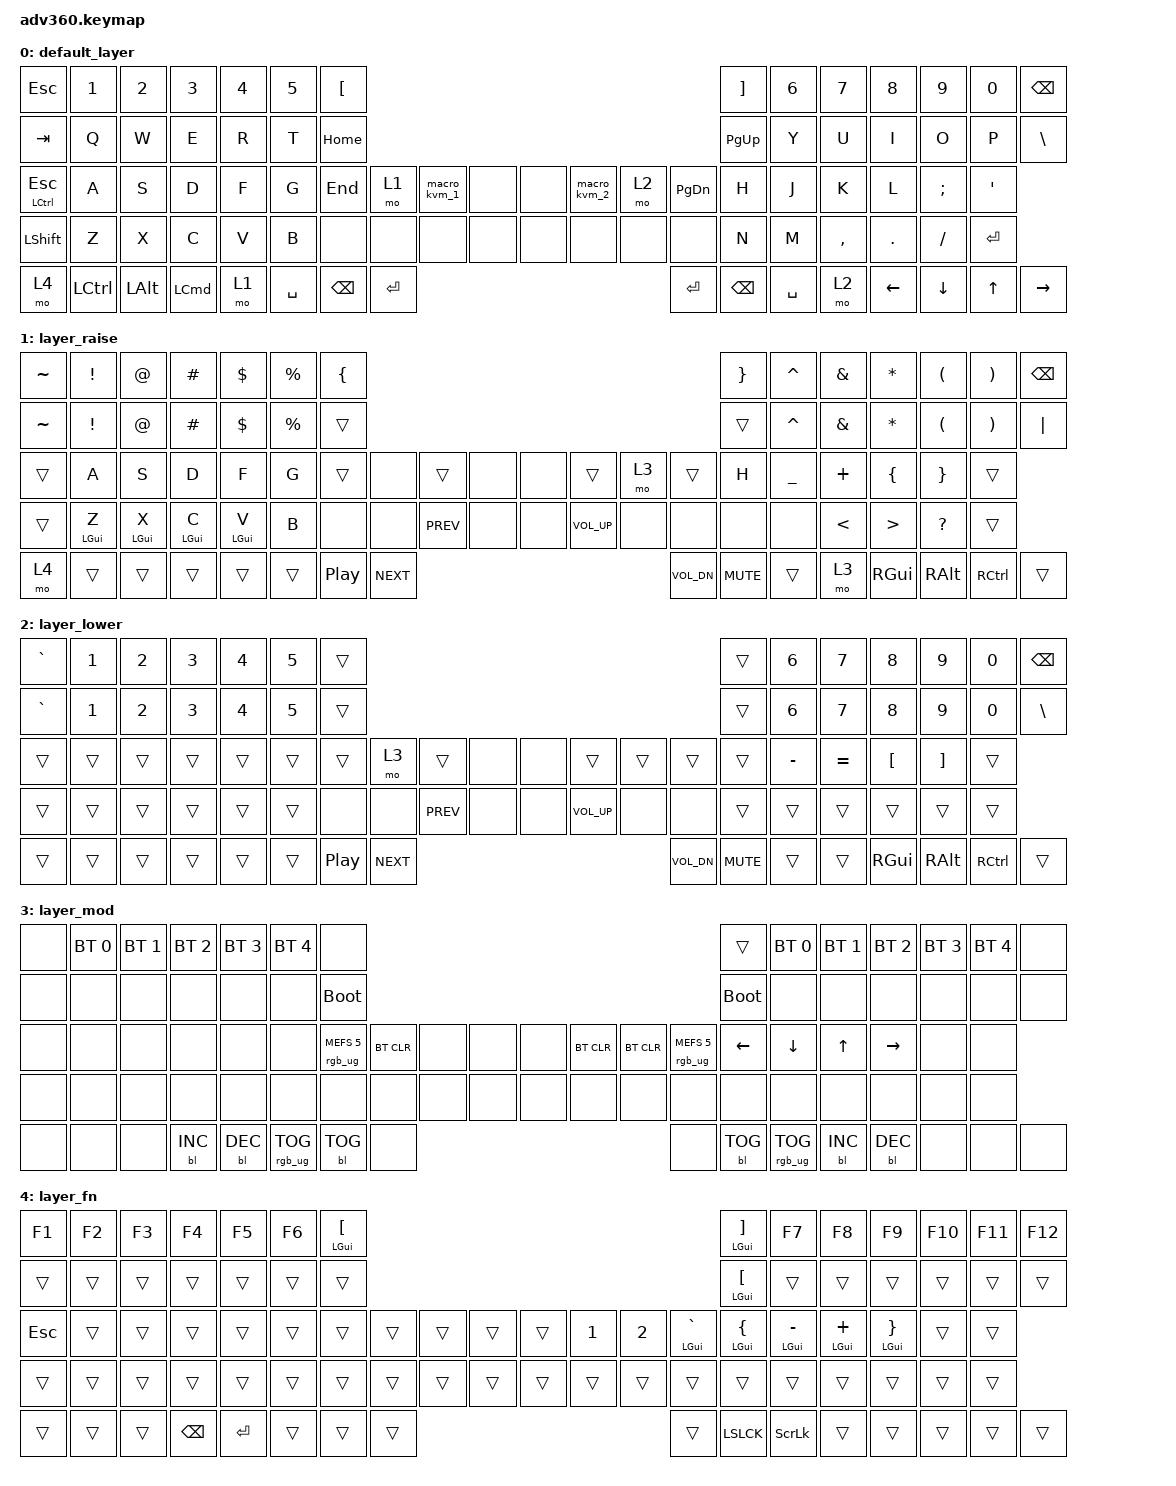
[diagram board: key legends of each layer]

/*
 * Copyright (c) 2020 The ZMK Contributors
 *
 * SPDX-License-Identifier: MIT
 */


/* THIS FILE WAS GENERATED!
 *
 * This file was generated automatically. You may or may not want to
 * edit it directly.
 */

#include <behaviors.dtsi>
#include <dt-bindings/zmk/keys.h>
#include <dt-bindings/zmk/bt.h>
#include <dt-bindings/zmk/rgb.h>
#include <dt-bindings/zmk/backlight.h>

/ {
  behaviors {
    #include "macros.dtsi"

    hm: homerow_mods {
        compatible = "zmk,behavior-hold-tap";
        label = "HOMEROW_MODS";
        #binding-cells = <2>;
        tapping-term-ms = <200>;
        quick_tap_ms = <175>;
        flavor = "tap-preferred";
        bindings = <&kp>, <&kp>;
    };
  };

    keymap {
        compatible = "zmk,keymap";


        default_layer {
            bindings = <
              &kp ESC     &kp N1        &kp N2            &kp N3  &kp N4  &kp N5            &kp LEFT_BRACKET                                                                            &kp RIGHT_BRACKET  &kp N6  &kp N7     &kp N8    &kp N9    &kp N0  &kp BACKSPACE
              &kp TAB      &kp Q         &kp W             &kp E   &kp R   &kp T                    &kp HOME                                                                                    &kp PG_UP   &kp Y   &kp U      &kp I     &kp O     &kp P       &kp BSLH
 &mt LEFT_CONTROL ESC      &kp A         &kp S             &kp D   &kp F   &kp G                     &kp END          &mo 1  &macro_kvm_1   &none   &none  &macro_kvm_2          &mo 2          &kp PG_DN   &kp H   &kp J      &kp K     &kp L  &kp SEMI        &kp SQT
            &kp LSHFT      &kp Z         &kp X             &kp C   &kp V   &kp B                       &none          &none         &none   &none   &none         &none          &none              &none   &kp N   &kp M  &kp COMMA   &kp DOT  &kp FSLH     &kp RETURN
                &mo 4  &kp LCTRL  &kp LEFT_ALT  &kp LEFT_COMMAND   &mo 1                           &kp SPACE  &kp BACKSPACE    &kp RETURN                    &kp RETURN  &kp BACKSPACE          &kp SPACE           &mo 2   &kp LEFT  &kp DOWN    &kp UP      &kp RIGHT
            >;
        };

        layer_raise {
            bindings = <
 &kp TILDE        &kp EXCL          &kp AT        &kp HASH        &kp DLLR  &kp PRCNT            &kp LEFT_BRACE                                                                  &kp RIGHT_BRACE  &kp CARET   &kp AMPS       &kp STAR  &kp LEFT_PARENTHESIS  &kp RIGHT_PARENTHESIS  &kp BACKSPACE
 &kp TILDE        &kp EXCL          &kp AT        &kp HASH        &kp DLLR  &kp PRCNT                    &trans                                                                           &trans  &kp CARET   &kp AMPS       &kp STAR  &kp LEFT_PARENTHESIS  &kp RIGHT_PARENTHESIS       &kp PIPE
    &trans           &kp A           &kp S           &kp D           &kp F      &kp G                    &trans     &none      &trans   &none   &none        &trans       &mo 3           &trans      &kp H  &kp UNDER       &kp PLUS        &kp LEFT_BRACE        &kp RIGHT_BRACE         &trans
    &trans  &mt LEFT_GUI Z  &mt LEFT_GUI X  &mt LEFT_GUI C  &mt LEFT_GUI V      &kp B                     &none     &none  &kp C_PREV   &none   &none  &kp C_VOL_UP       &none            &none      &none      &none         &kp LT                &kp GT           &kp QUESTION         &trans
     &mo 4          &trans          &trans          &trans          &trans                               &trans  &kp C_PP  &kp C_NEXT                  &kp C_VOL_DN  &kp K_MUTE           &trans                 &mo 3  &kp RIGHT_GUI         &kp RIGHT_ALT      &kp RIGHT_CONTROL         &trans
            >;
        };

        layer_lower {
            bindings = <
 &kp GRAVE  &kp NUMBER_1  &kp NUMBER_2  &kp NUMBER_3  &kp NUMBER_4  &kp NUMBER_5            &trans                                                                  &trans  &kp NUMBER_6  &kp NUMBER_7   &kp NUMBER_8      &kp NUMBER_9       &kp NUMBER_0  &kp BACKSPACE
 &kp GRAVE  &kp NUMBER_1  &kp NUMBER_2  &kp NUMBER_3  &kp NUMBER_4  &kp NUMBER_5            &trans                                                                  &trans  &kp NUMBER_6  &kp NUMBER_7   &kp NUMBER_8      &kp NUMBER_9       &kp NUMBER_0  &kp BACKSLASH
    &trans        &trans        &trans        &trans        &trans        &trans            &trans     &mo 3      &trans   &none   &none        &trans      &trans  &trans        &trans     &kp MINUS      &kp EQUAL  &kp LEFT_BRACKET  &kp RIGHT_BRACKET         &trans
    &trans        &trans        &trans        &trans        &trans        &trans             &none     &none  &kp C_PREV   &none   &none  &kp C_VOL_UP       &none   &none        &trans        &trans         &trans            &trans             &trans         &trans
    &trans        &trans        &trans        &trans        &trans                          &trans  &kp C_PP  &kp C_NEXT                  &kp C_VOL_DN  &kp K_MUTE  &trans                      &trans  &kp RIGHT_GUI     &kp RIGHT_ALT  &kp RIGHT_CONTROL         &trans
            >;
        };

        layer_mod {
            bindings = <
  &none  &bt BT_SEL 0  &bt BT_SEL 1  &bt BT_SEL 2  &bt BT_SEL 3  &bt BT_SEL 4                             &none                                                                              &trans  &bt BT_SEL 0  &bt BT_SEL 1  &bt BT_SEL 2  &bt BT_SEL 3  &bt BT_SEL 4   &none
  &none         &none         &none         &none         &none         &none                       &bootloader                                                                         &bootloader         &none         &none         &none         &none         &none   &none
  &none         &none         &none         &none         &none         &none            &rgb_ug RGB_MEFS_CMD 5  &bt BT_CLR   &none   &none   &none  &bt BT_CLR  &bt BT_CLR  &rgb_ug RGB_MEFS_CMD 5      &kp LEFT      &kp DOWN        &kp UP     &kp RIGHT         &none   &none
  &none         &none         &none         &none         &none         &none                             &none       &none   &none   &none   &none       &none       &none                   &none         &none         &none         &none         &none         &none   &none
  &none         &none         &none    &bl BL_INC    &bl BL_DEC                                 &rgb_ug RGB_TOG  &bl BL_TOG   &none                       &none  &bl BL_TOG         &rgb_ug RGB_TOG                  &bl BL_INC    &bl BL_DEC         &none         &none   &none
            >;
        };

        layer_fn {
            bindings = <
  &kp F1  &kp F2  &kp F3    &kp F4      &kp F5  &kp F6            &mt LEFT_GUI LEFT_BRACKET                                                              &mt LEFT_GUI RIGHT_BRACKET                   &kp F7              &kp F8             &kp F9                   &kp F10  &kp F11  &kp F12
  &trans  &trans  &trans    &trans      &trans  &trans                               &trans                                                               &mt LEFT_GUI LEFT_BRACKET                   &trans              &trans             &trans                    &trans   &trans   &trans
 &kp ESC  &trans  &trans    &trans      &trans  &trans                               &trans  &trans  &trans  &trans  &trans  &kp NUMBER_1  &kp NUMBER_2          &mt LEFT_GUI GRAVE  &mt LEFT_GUI LEFT_BRACE  &mt LEFT_GUI MINUS  &mt LEFT_GUI PLUS  &mt LEFT_GUI RIGHT_BRACE   &trans   &trans
  &trans  &trans  &trans    &trans      &trans  &trans                               &trans  &trans  &trans  &trans  &trans        &trans        &trans                      &trans                   &trans              &trans             &trans                    &trans   &trans   &trans
  &trans  &trans  &trans  &kp BSPC  &kp RETURN                                       &trans  &trans  &trans                        &trans     &kp LSLCK                    &kp SLCK                                       &trans             &trans                    &trans   &trans   &trans
            >;
        };

    };
};
